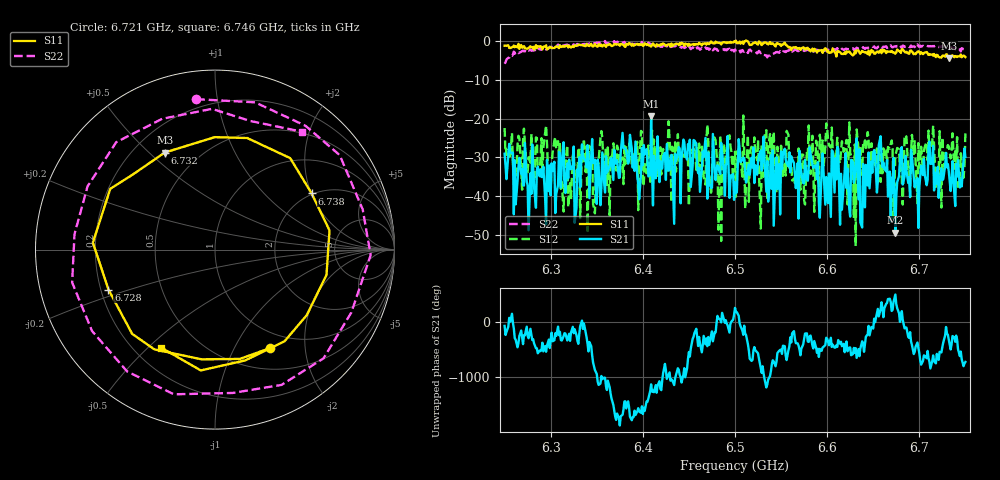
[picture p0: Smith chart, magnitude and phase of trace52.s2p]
# Hz S RI R 50
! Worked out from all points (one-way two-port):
!   401 points, 6.25 GHz to 6.75 GHz, reference 50 ohm
!   highest |S21| = -19.39 dB at 6.409 GHz (marker M1); lowest = -49.5 dB at 6.674 GHz (marker M2)
!   lowest |S11| = -4.3 dB at 6.732 GHz (marker M3), VSWR 4.11, Z = 16.3 + j28 ohm
!   |S11| at or under -10 dB: nowhere
!   |S22| runs from -5.8 to 0.1 dB; largest |S21 - S12| = 0.12
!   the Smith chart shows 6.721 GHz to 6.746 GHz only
!   S11 on the Smith chart (normalised r, x): 6.721 GHz: 0.78, -1.41; 6.728 GHz: 0.23, -0.17; 6.732 GHz: 0.33, +0.56; 6.738 GHz: 1.97, +2.01; 6.746 GHz: 0.31, -0.55
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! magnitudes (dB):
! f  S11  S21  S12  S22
! 6.25 GHz  -1.1  -29.1  -22.4  -5.8
! 6.276 GHz  -1.7  -48.8  -30.0  -2.4
! 6.334 GHz  -1.0  -26.6  -26.9  -0.7
! 6.409 GHz  -1.3  -19.4  -28.6  -0.7
! 6.418 GHz  -1.2  -36.4  -30.8  -0.9
! 6.5 GHz  -0.2  -36.4  -28.5  -2.1
! 6.506 GHz  -0.6  -31.2  -30.6  -2.9
! 6.584 GHz  -1.9  -31.7  -24.4  -2.1
! 6.6 GHz  -2.6  -39.2  -22.6  -2.1
! 6.629 GHz  -3.4  -36.6  -45.7  -2.2
! 6.641 GHz  -2.8  -42.9  -25.6  -2.0
! 6.659 GHz  -3.0  -29.9  -29.1  -1.9
! 6.668 GHz  -2.6  -33.7  -27.8  -1.4
! 6.674 GHz  -3.2  -49.5  -29.4  -1.2
! 6.698 GHz  -2.7  -35.4  -41.9  -0.8
! 6.712 GHz  -3.5  -31.7  -27.5  -1.2
! 6.721 GHz  -4.0  -40.5  -34.9  -1.5
! 6.728 GHz  -4.0  -32.2  -28.9  -1.2
! 6.732 GHz  -4.3  -33.7  -27.2  -1.9
! 6.738 GHz  -4.1  -39.4  -33.0  -1.8
! 6.746 GHz  -4.1  -37.5  -31.4  -1.8
! 6.75 GHz  -4.1  -29.9  -23.8  -2.1
